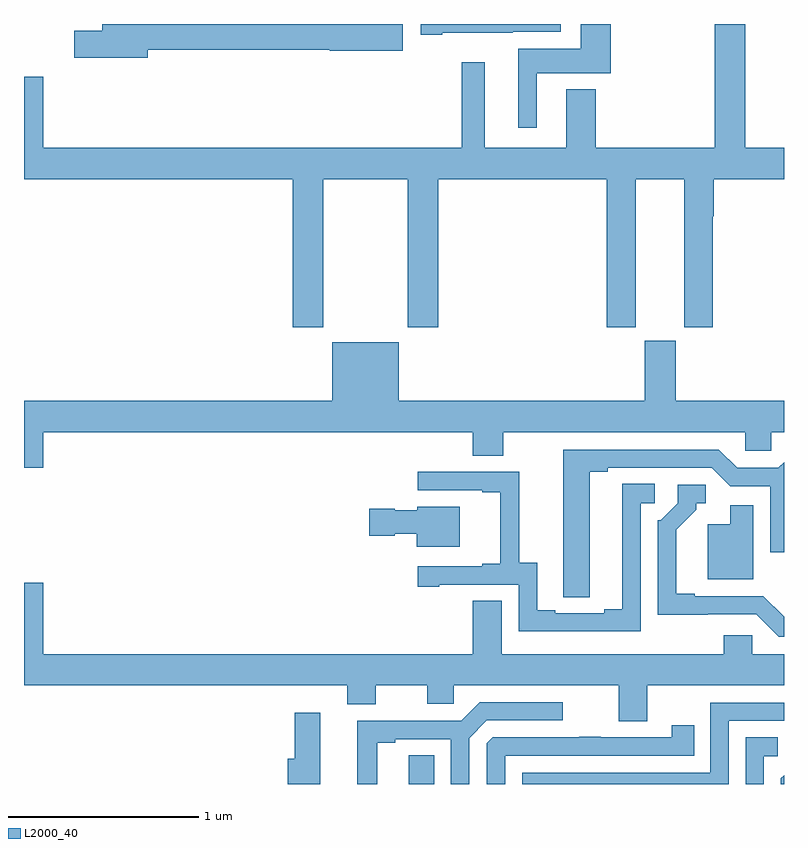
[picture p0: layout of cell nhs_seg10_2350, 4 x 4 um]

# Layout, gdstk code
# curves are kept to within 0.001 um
import gdstk
lib = gdstk.Library(unit=1e-6, precision=1e-09)
def R(c, l, rs):  # rectangles x0, y0, x1, y1
    for r in rs: c.add(gdstk.rectangle(r[:2], r[2:], *l))
def P(c, l, *ps):  # polygons
    for p in ps: c.add(gdstk.Polygon(p, *l))
L2000_40 = (2000, 40)

nhs_seg10_2350 = lib.new_cell('nhs_seg10_2350')
R(nhs_seg10_2350, L2000_40, [(239.024,1262.5,239.158,1262.651)])
P(nhs_seg10_2350, L2000_40, [(239.698,1266.242),(240.089,1266.242),(240.089,1266.5),(239.93,1266.5),(239.93,1266.37),(239.704,1266.37),(239.704,1266.369),(239.602,1266.369),(239.602,1266.266),(239.6,1266.266),(239.6,1265.955),(239.698,1265.955)],
  [(238.575,1265.684),(239.02,1265.684),(239.02,1264.905),(239.18,1264.905),(239.18,1265.684),(240.068,1265.684),(240.068,1264.905),(240.22,1264.905),(240.22,1265.684),(240.476,1265.684),(240.476,1264.905),(240.624,1264.905),(240.624,1265.488),(240.629,1265.488),(240.629,1265.684),(241,1265.684),(241,1265.848),(240.795,1265.848),(240.795,1266.5),(240.635,1266.5),(240.635,1265.848),(240.008,1265.848),(240.008,1266.157),(239.855,1266.157),(239.855,1265.848),(239.425,1265.848),(239.425,1266.298),(239.304,1266.298),(239.304,1265.848),(237.1,1265.848),(237.1,1266.223),(237,1266.223),(237,1265.684),(238.415,1265.684),(238.415,1264.905),(238.575,1264.905)],
  [(237.652,1266.364),(238.608,1266.364),(238.608,1266.359),(238.993,1266.359),(238.993,1266.5),(237.413,1266.5),(237.413,1266.464),(237.264,1266.464),(237.264,1266.322),(237.652,1266.322)],
  [(239.2,1266.455),(239.572,1266.455),(239.572,1266.459),(239.824,1266.459),(239.824,1266.5),(239.088,1266.5),(239.088,1266.443),(239.2,1266.443)],
  [(237.1,1264.352),(239.363,1264.352),(239.363,1264.228),(239.523,1264.228),(239.523,1264.352),(240.795,1264.352),(240.795,1264.254),(240.933,1264.254),(240.933,1264.352),(241,1264.352),(241,1264.516),(240.43,1264.516),(240.43,1264.833),(240.266,1264.833),(240.266,1264.516),(238.972,1264.516),(238.972,1264.825),(238.622,1264.825),(238.622,1264.516),(237,1264.516),(237,1264.164),(237.1,1264.164)],
  [(239.977,1264.144),(240.073,1264.144),(240.073,1264.164),(240.621,1264.164),(240.717,1264.068),(240.927,1264.068),(240.927,1263.72),(241,1263.72),(241,1264.193),(240.971,1264.164),(240.753,1264.164),(240.657,1264.26),(239.837,1264.26),(239.838,1263.484),(239.977,1263.484)],
  [(240.246,1263.978),(240.319,1263.978),(240.319,1264.079),(240.149,1264.079),(240.149,1263.419),(240.053,1263.419),(240.053,1263.399),(239.797,1263.399),(239.797,1263.414),(239.701,1263.414),(239.701,1263.665),(239.607,1263.665),(239.607,1264.143),(239.073,1264.143),(239.073,1264.047),(239.411,1264.047),(239.411,1264.035),(239.507,1264.035),(239.507,1263.658),(239.411,1263.658),(239.411,1263.645),(239.073,1263.645),(239.073,1263.537),(239.185,1263.537),(239.185,1263.549),(239.604,1263.549),(239.604,1263.303),(240.246,1263.303)],
  [(241,1263.38),(240.891,1263.489),(240.529,1263.489),(240.529,1263.502),(240.433,1263.502),(240.433,1263.838),(240.538,1263.943),(240.538,1263.978),(240.589,1263.978),(240.589,1264.074),(240.441,1264.074),(240.441,1263.978),(240.351,1263.888),(240.336,1263.888),(240.336,1263.392),(240.855,1263.393),(240.972,1263.276),(241,1263.276)],
  [(240.838,1263.967),(240.716,1263.967),(240.716,1263.868),(240.599,1263.868),(240.599,1263.578),(240.838,1263.578)],
  [(239.293,1263.958),(239.07,1263.958),(239.07,1263.94),(238.95,1263.94),(238.95,1263.948),(238.818,1263.948),(238.818,1263.806),(238.95,1263.806),(238.95,1263.818),(239.066,1263.818),(239.066,1263.749),(239.293,1263.749)],
  [(240.279,1263.02),(241,1263.02),(241,1263.184),(240.834,1263.184),(240.834,1263.282),(240.683,1263.282),(240.683,1263.184),(239.515,1263.184),(239.515,1263.464),(239.363,1263.464),(239.363,1263.184),(237.1,1263.184),(237.1,1263.559),(237,1263.559),(237,1263.02),(238.7,1263.02),(238.7,1262.921),(238.852,1262.921),(238.852,1263.02),(239.123,1263.02),(239.123,1262.922),(239.262,1262.922),(239.262,1263.02),(240.131,1263.02),(240.131,1262.83),(240.279,1262.83)],
  [(238.858,1262.716),(238.954,1262.716),(238.954,1262.736),(239.247,1262.736),(239.247,1262.5),(239.343,1262.5),(239.343,1262.742),(239.436,1262.835),(239.836,1262.835),(239.836,1262.931),(239.399,1262.931),(239.3,1262.832),(238.754,1262.832),(238.754,1262.5),(238.858,1262.5)],
  [(240.708,1262.832),(241,1262.832),(241,1262.928),(240.612,1262.928),(240.612,1262.559),(239.622,1262.559),(239.622,1262.5),(240.708,1262.5)],
  [(238.558,1262.875),(238.424,1262.875),(238.424,1262.634),(238.388,1262.634),(238.388,1262.5),(238.558,1262.5)],
  [(239.532,1262.649),(240.527,1262.649),(240.527,1262.809),(240.409,1262.809),(240.409,1262.745),(240.035,1262.745),(240.035,1262.75),(239.923,1262.75),(239.923,1262.745),(239.466,1262.745),(239.436,1262.715),(239.436,1262.5),(239.532,1262.5)],
  [(240.894,1262.646),(240.967,1262.646),(240.967,1262.747),(240.798,1262.747),(240.798,1262.5),(240.894,1262.5)],
  [(241,1262.546),(240.984,1262.53),(240.984,1262.5),(241,1262.5)])

lib.write_gds('nhs_seg10_2350.gds')
